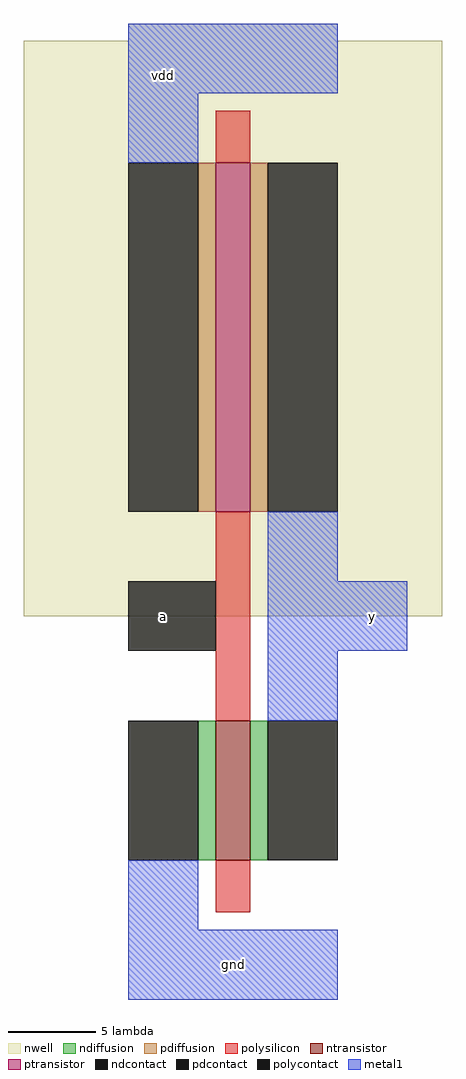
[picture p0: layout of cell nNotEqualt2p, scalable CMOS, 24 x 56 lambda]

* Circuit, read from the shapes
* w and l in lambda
.subckt nNotEqualt2p a gnd vdd y
M1 y a gnd VSUBS nfet w=8 l=2
M2 y a vdd n1 pfet w=20 l=2
.ends

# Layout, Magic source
magic
tech scmos
<< nwell >>
rect -2 41 10 42
rect -8 8 16 41
<< ntransistor >>
rect 3 -6 5 2
<< ptransistor >>
rect 3 14 5 34
<< ndiffusion >>
rect 2 -6 3 2
rect 5 -6 6 2
<< pdiffusion >>
rect 2 14 3 34
rect 5 14 6 34
<< ndcontact >>
rect -2 -6 2 2
rect 6 -6 10 2
<< pdcontact >>
rect -2 14 2 34
rect 6 14 10 34
<< polysilicon >>
rect 3 34 5 37
rect 3 2 5 14
rect 3 -9 5 -6
<< polycontact >>
rect -2 6 3 10
<< metal1 >>
rect -2 38 10 42
rect -2 34 2 38
rect 6 10 10 14
rect 6 6 14 10
rect 6 2 10 6
rect -2 -10 2 -6
rect -2 -14 10 -10
<< labels >>
rlabel metal1 0 39 0 39 5 vdd
rlabel polycontact 0 8 0 8 1 a
rlabel metal1 12 8 12 8 7 y
rlabel metal1 4 -12 4 -12 1 gnd
<< end >>
